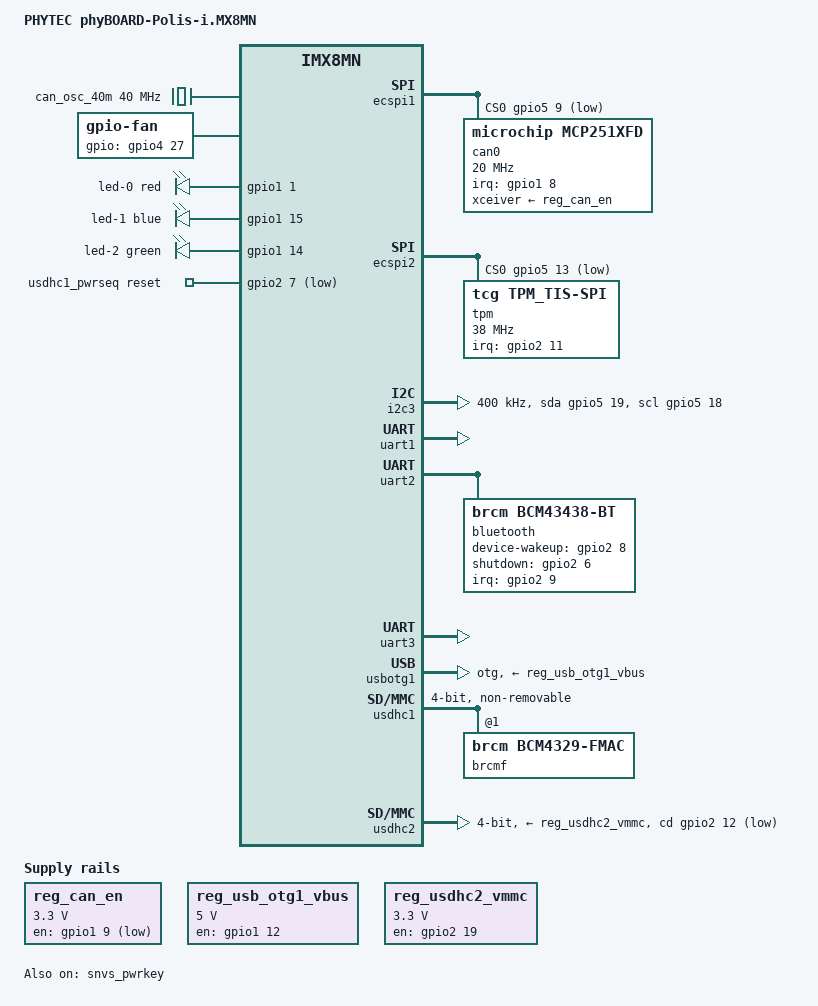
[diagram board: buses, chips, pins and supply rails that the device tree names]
// SPDX-License-Identifier: GPL-2.0
/*
 * Copyright (C) 2020-2022 PHYTEC Messtechnik GmbH
 * Author: Teresa Remmet <t.remmet@phytec.de>
 */

/dts-v1/;

#include <dt-bindings/leds/common.h>
#include "imx8mn-phycore-som.dtsi"

/ {
	model = "PHYTEC phyBOARD-Polis-i.MX8MN";
	compatible = "phytec,imx8mn-phyboard-polis",
		     "phytec,i.mx8mn-phycore-som","fsl,imx8mn";

	clocks {
		#address-cells = <1>;
		#size-cells = <0>;

		can_osc_40m: can-clock@0 {
			compatible = "fixed-clock";
			clock-frequency = <40000000>;
			clock-output-names = "can_osc_40m";
			reg = <0>;
			#clock-cells = <0>;
		};
	};

	fan: gpio-fan {
		compatible = "gpio-fan";
		gpios = <&gpio4 27 GPIO_ACTIVE_HIGH>;
		gpio-fan,speed-map = <0     0
				      13000 1>;
		pinctrl-names = "default";
		pinctrl-0 = <&pinctrl_fan>;
		#cooling-cells = <2>;
	};

	leds {
		compatible = "gpio-leds";
		pinctrl-names = "default";
		pinctrl-0 = <&pinctrl_leds>;

		led-0 {
			color = <LED_COLOR_ID_RED>;
			function = LED_FUNCTION_DISK;
			gpios = <&gpio1 1 GPIO_ACTIVE_HIGH>;
			linux,default-trigger = "mmc2";
		};

		led-1 {
			color = <LED_COLOR_ID_BLUE>;
			function = LED_FUNCTION_DISK;
			gpios = <&gpio1 15 GPIO_ACTIVE_HIGH>;
			linux,default-trigger = "mmc1";
		};

		led-2 {
			color = <LED_COLOR_ID_GREEN>;
			function = LED_FUNCTION_CPU;
			gpios = <&gpio1 14 GPIO_ACTIVE_HIGH>;
			linux,default-trigger = "heartbeat";
		};
	};

	usdhc1_pwrseq: pwr-seq {
		compatible = "mmc-pwrseq-simple";
		post-power-on-delay-ms = <100>;
		power-off-delay-us = <60>;
		reset-gpios = <&gpio2 7 GPIO_ACTIVE_LOW>;
	};

	reg_can_en: regulator-can-en {
		compatible = "regulator-fixed";
		gpio = <&gpio1 9 GPIO_ACTIVE_LOW>;
		pinctrl-names = "default";
		pinctrl-0 = <&pinctrl_can_en>;
		regulator-max-microvolt = <3300000>;
		regulator-min-microvolt = <3300000>;
		regulator-name = "reg_can_en";
		startup-delay-us = <20>;
	};

	reg_usb_otg1_vbus: regulator-usb-otg1-vbus {
		compatible = "regulator-fixed";
		enable-active-high;
		gpio = <&gpio1 12 GPIO_ACTIVE_HIGH>;
		pinctrl-names = "default";
		pinctrl-0 = <&pinctrl_usbotg1pwrgrp>;
		regulator-max-microvolt = <5000000>;
		regulator-min-microvolt = <5000000>;
		regulator-name = "usb_otg1_vbus";
	};

	reg_usdhc2_vmmc: regulator-usdhc2 {
		compatible = "regulator-fixed";
		enable-active-high;
		gpio = <&gpio2 19 GPIO_ACTIVE_HIGH>;
		off-on-delay-us = <20000>;
		pinctrl-names = "default";
		pinctrl-0 = <&pinctrl_reg_usdhc2_vmmc>;
		regulator-max-microvolt = <3300000>;
		regulator-min-microvolt = <3300000>;
		regulator-name = "VSD_3V3";
	};
};

/* SPI - CAN MCP251XFD */
&ecspi1 {
	#address-cells = <1>;
	#size-cells = <0>;
	cs-gpios = <&gpio5 9 GPIO_ACTIVE_LOW>;
	pinctrl-names = "default";
	pinctrl-0 = <&pinctrl_ecspi1 &pinctrl_ecspi1_cs>;
	status = "okay";

	can0: can@0 {
		compatible = "microchip,mcp251xfd";
		clocks = <&can_osc_40m>;
		interrupts = <8 IRQ_TYPE_LEVEL_LOW>;
		interrupt-parent = <&gpio1>;
		pinctrl-names = "default";
		pinctrl-0 = <&pinctrl_can_int>;
		reg = <0>;
		spi-max-frequency = <20000000>;
		xceiver-supply = <&reg_can_en>;
	};
};

/* TPM */
&ecspi2 {
	cs-gpios = <&gpio5 13 GPIO_ACTIVE_LOW>;
	num-cs = <1>;
	pinctrl-names = "default";
	pinctrl-0 = <&pinctrl_ecspi2 &pinctrl_ecspi2_cs>;
	#address-cells = <1>;
	#size-cells =           <0>;
	status = "okay";

	tpm: tpm-tis@0 {
		compatible = "tcg,tpm_tis-spi";
		interrupts = <11 IRQ_TYPE_LEVEL_LOW>;
		interrupt-parent = <&gpio2>;
		pinctrl-names = "default";
		pinctrl-0 = <&pinctrl_tpm>;
		reg = <0>;
		spi-max-frequency = <38000000>;
	};
};

&i2c3 {
	clock-frequency = <400000>;
	pinctrl-names = "default", "gpio";
	pinctrl-0 = <&pinctrl_i2c3>;
	pinctrl-1 = <&pinctrl_i2c3_gpio>;
	scl-gpios = <&gpio5 18 (GPIO_ACTIVE_HIGH | GPIO_OPEN_DRAIN)>;
	sda-gpios = <&gpio5 19 (GPIO_ACTIVE_HIGH | GPIO_OPEN_DRAIN)>;
};

&snvs_pwrkey {
	status = "okay";
};

/* RTC */
&rv3028 {
	enable-level-switching-mode;
	trickle-resistor-ohms = <3000>;
};

/* UART - RS232/RS485 */
&uart1 {
	assigned-clocks = <&clk IMX8MN_CLK_UART1>;
	assigned-clock-parents = <&clk IMX8MN_SYS_PLL1_80M>;
	pinctrl-names = "default";
	pinctrl-0 = <&pinctrl_uart1>;
	uart-has-rtscts;
	status = "okay";
};

/* UART - Sterling-LWB Bluetooth */
&uart2 {
	assigned-clocks = <&clk IMX8MN_CLK_UART2>;
	assigned-clock-parents = <&clk IMX8MN_SYS_PLL1_80M>;
	fsl,dte-mode;
	pinctrl-names = "default";
	pinctrl-0 = <&pinctrl_uart2_bt>;
	uart-has-rtscts;
	status = "okay";

	bluetooth {
		compatible = "brcm,bcm43438-bt";
		device-wakeup-gpios = <&gpio2 8 GPIO_ACTIVE_HIGH>;
		interrupts = <9 IRQ_TYPE_EDGE_BOTH>;
		interrupt-names = "host-wakeup";
		interrupt-parent = <&gpio2>;
		max-speed = <2000000>;
		pinctrl-names = "default";
		pinctrl-0 = <&pinctrl_bt>;
		shutdown-gpios = <&gpio2 6 GPIO_ACTIVE_HIGH>;
	};
};

/* UART - console */
&uart3 {
	pinctrl-names = "default";
	pinctrl-0 = <&pinctrl_uart3>;
	status = "okay";
};

/* USB */
&usbotg1 {
	adp-disable;
	dr_mode = "otg";
	over-current-active-low;
	samsung,picophy-pre-emp-curr-control = <3>;
	samsung,picophy-dc-vol-level-adjust = <7>;
	srp-disable;
	vbus-supply = <&reg_usb_otg1_vbus>;
	status = "okay";
};

/* SDIO - Sterling-LWB Wifi */
&usdhc1 {
	assigned-clocks = <&clk IMX8MN_CLK_USDHC1>;
	assigned-clock-rates = <200000000>;
	bus-width = <4>;
	keep-power-in-suspend;
	mmc-pwrseq = <&usdhc1_pwrseq>;
	non-removable;
	no-1-8-v;
	pinctrl-names = "default", "state_100mhz", "state_200mhz";
	pinctrl-0 = <&pinctrl_usdhc1>, <&pinctrl_wlan>;
	#address-cells = <1>;
	#size-cells = <0>;
	status = "okay";

	brcmf: wifi@1 {
		compatible = "brcm,bcm4329-fmac";
		reg = <1>;
	};
};

/* SD-Card */
&usdhc2 {
	assigned-clocks = <&clk IMX8MN_CLK_USDHC2>;
	assigned-clock-rates = <200000000>;
	bus-width = <4>;
	cd-gpios = <&gpio2 12 GPIO_ACTIVE_LOW>;
	disable-wp;
	pinctrl-names = "default", "state_100mhz", "state_200mhz";
	pinctrl-0 = <&pinctrl_usdhc2>, <&pinctrl_usdhc2_gpio>;
	pinctrl-1 = <&pinctrl_usdhc2_100mhz>, <&pinctrl_usdhc2_gpio>;
	pinctrl-2 = <&pinctrl_usdhc2_200mhz>, <&pinctrl_usdhc2_gpio>;
	vmmc-supply = <&reg_usdhc2_vmmc>;
	vqmmc-supply = <&reg_ldo2>;
	status = "okay";
};

&iomuxc {
	pinctrl_bt: btgrp {
		fsl,pins = <
			MX8MN_IOMUXC_SD1_DATA4_GPIO2_IO6	0x00
			MX8MN_IOMUXC_SD1_DATA6_GPIO2_IO8	0x00
			MX8MN_IOMUXC_SD1_DATA7_GPIO2_IO9	0x00
		>;
	};

	pinctrl_can_en: can-engrp {
		fsl,pins = <
			MX8MN_IOMUXC_GPIO1_IO09_GPIO1_IO9	0x00
		>;
	};

	pinctrl_can_int: can-intgrp {
		fsl,pins = <
			MX8MN_IOMUXC_GPIO1_IO08_GPIO1_IO8	0x00
		>;
	};

	pinctrl_ecspi1: ecspi1grp {
		fsl,pins = <
			MX8MN_IOMUXC_ECSPI1_MISO_ECSPI1_MISO	0x82
			MX8MN_IOMUXC_ECSPI1_MOSI_ECSPI1_MOSI	0x82
			MX8MN_IOMUXC_ECSPI1_SCLK_ECSPI1_SCLK	0x82
		>;
	};

	pinctrl_ecspi1_cs: ecspi1csgrp {
		fsl,pins = <
			MX8MN_IOMUXC_ECSPI1_SS0_GPIO5_IO9	0x00
		>;
	};

	pinctrl_ecspi2: ecspi2grp {
		fsl,pins = <
			MX8MN_IOMUXC_ECSPI2_MISO_ECSPI2_MISO    0x82
			MX8MN_IOMUXC_ECSPI2_MOSI_ECSPI2_MOSI    0x82
			MX8MN_IOMUXC_ECSPI2_SCLK_ECSPI2_SCLK    0x82
		>;
	};

	pinctrl_ecspi2_cs: ecspi2csgrp {
		fsl,pins = <
			MX8MN_IOMUXC_ECSPI2_SS0_GPIO5_IO13      0x00
		>;
	};

	pinctrl_fan: fan0grp {
		fsl,pins = <
			MX8MN_IOMUXC_SAI2_MCLK_GPIO4_IO27	0x16
		>;
	};

	pinctrl_i2c3: i2c3grp {
		fsl,pins = <
			MX8MN_IOMUXC_I2C3_SDA_I2C3_SDA          0x400001c2
			MX8MN_IOMUXC_I2C3_SCL_I2C3_SCL          0x400001c2
		>;
	};

	pinctrl_i2c3_gpio: i2c3gpiogrp {
		fsl,pins = <
			MX8MN_IOMUXC_I2C3_SDA_GPIO5_IO19        0x1e2
			MX8MN_IOMUXC_I2C3_SCL_GPIO5_IO18        0x1e2
		>;
	};

	pinctrl_leds: leds1grp {
		fsl,pins = <
			MX8MN_IOMUXC_GPIO1_IO01_GPIO1_IO1	0x16
			MX8MN_IOMUXC_GPIO1_IO14_GPIO1_IO14	0x16
			MX8MN_IOMUXC_GPIO1_IO15_GPIO1_IO15	0x16
		>;
	};

	pinctrl_reg_usdhc2_vmmc: regusdhc2vmmcgrp {
		fsl,pins = <
			MX8MN_IOMUXC_SD2_RESET_B_GPIO2_IO19     0x40
		>;
	};

	pinctrl_tpm: tpmgrp {
		fsl,pins = <
			MX8MN_IOMUXC_SD1_STROBE_GPIO2_IO11      0x140
		>;
	};

	pinctrl_uart1: uart1grp {
		fsl,pins = <
			MX8MN_IOMUXC_SAI2_RXC_UART1_DCE_RX	0x00
			MX8MN_IOMUXC_SAI2_RXD0_UART1_DCE_RTS_B	0x00
			MX8MN_IOMUXC_SAI2_RXFS_UART1_DCE_TX	0x00
			MX8MN_IOMUXC_SAI2_TXFS_UART1_DCE_CTS_B	0x00
		>;
	};

	pinctrl_uart2_bt: uart2btgrp {
		fsl,pins = <
			MX8MN_IOMUXC_SAI3_RXC_UART2_DTE_RTS_B	0x00
			MX8MN_IOMUXC_SAI3_RXD_UART2_DTE_CTS_B	0x00
			MX8MN_IOMUXC_SAI3_TXC_UART2_DTE_RX	0x00
			MX8MN_IOMUXC_SAI3_TXFS_UART2_DTE_TX	0x00
		>;
	};

	pinctrl_uart3: uart3grp {
		fsl,pins = <
			MX8MN_IOMUXC_UART3_RXD_UART3_DCE_RX	0x40
			MX8MN_IOMUXC_UART3_TXD_UART3_DCE_TX	0x40
		>;
	};

	pinctrl_usbotg1pwrgrp: usbotg1pwrgrp {
		fsl,pins = <
			MX8MN_IOMUXC_GPIO1_IO12_GPIO1_IO12      0x00
		>;
	};

	pinctrl_usbotg1grp: usbotg1grp {
		fsl,pins = <
			MX8MN_IOMUXC_GPIO1_IO13_USB1_OTG_OC     0x80
		>;
	};

	pinctrl_usdhc1: usdhc1grp {
		fsl,pins = <
			MX8MN_IOMUXC_SD1_CLK_USDHC1_CLK		0x182
			MX8MN_IOMUXC_SD1_CMD_USDHC1_CMD		0xc6
			MX8MN_IOMUXC_SD1_DATA0_USDHC1_DATA0	0xc6
			MX8MN_IOMUXC_SD1_DATA1_USDHC1_DATA1	0xc6
			MX8MN_IOMUXC_SD1_DATA2_USDHC1_DATA2	0xc6
			MX8MN_IOMUXC_SD1_DATA3_USDHC1_DATA3	0xc6
		>;
	};

	pinctrl_usdhc2_gpio: usdhc2gpiogrp {
		fsl,pins = <
			MX8MN_IOMUXC_SD2_CD_B_GPIO2_IO12	0x40
		>;
	};

	pinctrl_usdhc2: usdhc2grp {
		fsl,pins = <
			MX8MN_IOMUXC_GPIO1_IO04_USDHC2_VSELECT	0x1d0
			MX8MN_IOMUXC_SD2_CLK_USDHC2_CLK		0x192
			MX8MN_IOMUXC_SD2_CMD_USDHC2_CMD		0x1d2
			MX8MN_IOMUXC_SD2_DATA0_USDHC2_DATA0	0x1d2
			MX8MN_IOMUXC_SD2_DATA1_USDHC2_DATA1	0x1d2
			MX8MN_IOMUXC_SD2_DATA2_USDHC2_DATA2	0x1d2
			MX8MN_IOMUXC_SD2_DATA3_USDHC2_DATA3	0x1d2
		>;
	};

	pinctrl_usdhc2_100mhz: usdhc2-100mhzgrp {
		fsl,pins = <
			MX8MN_IOMUXC_GPIO1_IO04_USDHC2_VSELECT	0x1d0
			MX8MN_IOMUXC_SD2_CLK_USDHC2_CLK		0x194
			MX8MN_IOMUXC_SD2_CMD_USDHC2_CMD		0x1d4
			MX8MN_IOMUXC_SD2_DATA0_USDHC2_DATA0	0x1d4
			MX8MN_IOMUXC_SD2_DATA1_USDHC2_DATA1	0x1d4
			MX8MN_IOMUXC_SD2_DATA2_USDHC2_DATA2	0x1d4
			MX8MN_IOMUXC_SD2_DATA3_USDHC2_DATA3	0x1d4
		>;
	};

	pinctrl_usdhc2_200mhz: usdhc2-200mhzgrp {
		fsl,pins = <
			MX8MN_IOMUXC_GPIO1_IO04_USDHC2_VSELECT	0x1d0
			MX8MN_IOMUXC_SD2_CLK_USDHC2_CLK		0x196
			MX8MN_IOMUXC_SD2_CMD_USDHC2_CMD		0x1d6
			MX8MN_IOMUXC_SD2_DATA0_USDHC2_DATA0	0x1d6
			MX8MN_IOMUXC_SD2_DATA1_USDHC2_DATA1	0x1d6
			MX8MN_IOMUXC_SD2_DATA2_USDHC2_DATA2	0x1d6
			MX8MN_IOMUXC_SD2_DATA3_USDHC2_DATA3	0x1d6
		>;
	};

	pinctrl_wlan: wlangrp {
		fsl,pins = <
			MX8MN_IOMUXC_SD1_DATA5_GPIO2_IO7	0x00
		>;
	};
};
